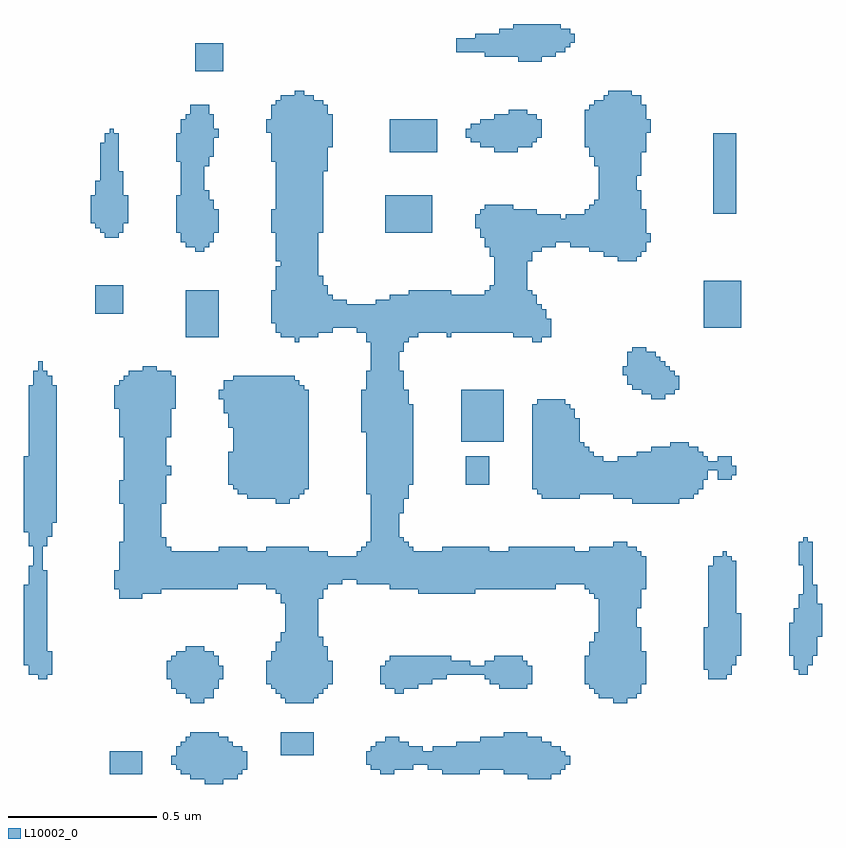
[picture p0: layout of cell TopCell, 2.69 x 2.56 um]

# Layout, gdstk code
import gdstk
lib = gdstk.Library(unit=1e-6, precision=1e-09)
def R(c, l, rs):  # rectangles x0, y0, x1, y1
    for r in rs: c.add(gdstk.rectangle(r[:2], r[2:], *l))
L10002_0 = (10002, 0)

topcell = lib.new_cell('TopCell')
R(topcell, L10002_0, [(1.36,0.768,1.407,0.943), (1.407,0.768,1.423,0.927), (1.312,0.784,1.36,0.943), (1.423,0.784,1.439,0.927), (1.439,0.784,1.455,0.911), (1.455,0.784,1.471,0.895), (2.448,0.784,2.495,0.927), (2.495,0.784,2.527,0.911), (1.04,0.8,1.151,0.879), (1.28,0.8,1.312,0.911), (1.471,0.8,1.487,0.895), (1.952,0.8,1.999,0.911), (2.16,0.8,2.287,0.895), (2.368,0.8,2.447,0.943), (2.447,0.8,2.448,0.927), (2.527,0.8,2.559,0.895), (1.264,0.816,1.28,0.895), (1.487,0.816,1.503,0.879), (1.92,0.816,1.952,0.895), (1.999,0.816,2.015,0.927), (2.015,0.816,2.047,0.911), (2.047,0.816,2.063,0.895), (2.112,0.816,2.16,0.879), (2.287,0.816,2.368,0.911), (2.559,0.816,2.575,0.879), (1.248,0.832,1.264,0.863), (1.904,0.832,1.92,0.879), (2.063,0.832,2.095,0.895), (2.095,0.832,2.112,0.879), (2.575,0.832,2.591,0.863), (1.616,0.864,1.727,0.943), (2.128,0.879,2.16,0.895), (1.936,0.895,1.952,0.911), (2.208,0.895,2.287,0.911), (1.296,0.911,1.312,0.927), (1.968,0.911,1.999,0.927), (2.288,0.911,2.368,0.927), (1.312,1.04,1.359,1.231), (1.632,1.04,1.711,1.567), (1.711,1.04,1.727,1.551), (2.736,1.04,2.783,1.583), (1.296,1.056,1.312,1.231), (1.359,1.056,1.391,1.215), (1.616,1.056,1.632,1.279), (1.727,1.056,1.743,1.551), (2.688,1.056,2.736,1.567), (2.783,1.056,2.815,1.567), (1.264,1.072,1.296,1.215), (1.6,1.072,1.616,1.247), (1.743,1.072,1.759,1.263), (2,1.072,2.031,1.199), (2.672,1.072,2.688,1.279), (2.815,1.072,2.831,1.295), (1.248,1.088,1.264,1.199), (1.391,1.088,1.407,1.199), (1.584,1.088,1.6,1.215), (1.759,1.088,1.775,1.231), (1.968,1.088,2,1.183), (2.031,1.088,2.079,1.199), (2.352,1.088,2.431,1.199), (2.431,1.088,2.447,1.183), (2.656,1.088,2.672,1.247), (1.568,1.104,1.584,1.183), (1.775,1.104,1.791,1.183), (1.952,1.104,1.968,1.167), (2.079,1.104,2.127,1.199), (2.32,1.104,2.352,1.183), (2.447,1.104,2.463,1.167), (2.64,1.104,2.656,1.199), (2.831,1.104,2.847,1.215), (0.8,1.12,0.815,2.191), (0.815,1.12,0.831,1.487), (1.232,1.12,1.248,1.183), (1.407,1.12,1.423,1.167), (2.127,1.12,2.175,1.199), (2.304,1.12,2.32,1.183), (3.056,1.12,3.119,1.503), (0.768,1.136,0.8,1.503), (0.831,1.136,0.847,1.215), (2.175,1.136,2.191,1.199), (2.191,1.136,2.255,1.183), (2.255,1.136,2.304,1.167), (3.119,1.136,3.135,1.535), (3.36,1.136,3.391,1.407), (3.04,1.152,3.056,1.295), (3.344,1.152,3.36,1.359), (0.752,1.168,0.768,1.439), (3.135,1.168,3.151,1.519), (3.391,1.168,3.407,1.583), (1.984,1.183,2,1.199), (2.336,1.183,2.352,1.199), (3.151,1.2,3.167,1.343), (3.328,1.2,3.344,1.311), (3.407,1.2,3.423,1.439), (3.423,1.264,3.439,1.375), (2.815,1.36,2.831,1.551), (1.616,1.376,1.632,1.567), (1.072,1.392,1.151,1.583), (1.743,1.392,1.759,1.551), (2.672,1.392,2.688,1.567), (3.376,1.407,3.391,1.599), (1.151,1.408,1.215,2.159), (1.6,1.408,1.616,1.567), (2.08,1.408,2.271,1.551), (2.656,1.408,2.672,1.567), (1.056,1.424,1.072,1.487), (1.215,1.424,1.231,1.599), (1.231,1.424,1.247,1.567), (1.247,1.424,1.471,1.551), (1.568,1.424,1.6,1.567), (1.759,1.424,1.775,1.551), (1.984,1.424,2.015,2.415), (2.015,1.424,2.031,1.599), (2.031,1.424,2.047,1.583), (2.047,1.424,2.063,1.567), (2.063,1.424,2.08,1.551), (2.271,1.424,2.319,1.567), (2.319,1.424,2.543,1.551), (2.64,1.424,2.656,1.551), (2.831,1.424,2.847,1.535), (1.471,1.44,1.503,1.567), (1.503,1.44,1.568,1.551), (1.775,1.44,1.823,1.535), (1.872,1.44,1.984,1.551), (2.543,1.44,2.607,1.567), (2.607,1.44,2.64,1.551), (1.823,1.456,1.872,1.535), (0.784,1.503,0.8,2.159), (3.072,1.503,3.119,1.535), (3.36,1.504,3.376,1.583), (3.104,1.535,3.119,1.551), (1.408,1.551,1.471,1.567), (1.888,1.551,1.984,1.567), (2.16,1.551,2.271,1.567), (2.384,1.551,2.543,1.567), (1.904,1.567,1.984,1.583), (0.768,1.568,0.784,2.111), (0.815,1.568,0.831,2.159), (1.088,1.583,1.151,2.143), (1.92,1.583,1.984,2.383), (0.831,1.6,0.847,2.143), (0.752,1.616,0.768,1.871), (0.847,1.648,0.863,2.111), (2.015,1.68,2.031,2.159), (1.072,1.712,1.088,1.791), (1.215,1.712,1.231,2.159), (1.6,1.712,1.647,2.143), (2.8,1.712,2.959,1.871), (1.504,1.728,1.6,2.143), (1.647,1.728,1.663,2.143), (1.663,1.728,1.679,2.127), (2.031,1.728,2.047,2.095), (2.496,1.728,2.575,2.063), (2.575,1.728,2.591,2.047), (2.591,1.728,2.607,2.031), (2.607,1.728,2.623,1.999), (2.736,1.728,2.8,1.855), (2.959,1.728,2.991,1.919), (2.991,1.728,3.007,1.903), (1.472,1.744,1.504,2.143), (1.679,1.744,1.695,2.111), (1.904,1.744,1.92,2.159), (2.48,1.744,2.496,2.063), (2.623,1.744,2.639,1.919), (2.639,1.744,2.655,1.903), (2.655,1.744,2.671,1.887), (2.671,1.744,2.703,1.871), (2.703,1.744,2.736,1.855), (3.007,1.744,3.023,1.903), (1.456,1.76,1.472,2.143), (1.695,1.76,1.711,2.095), (2.464,1.76,2.48,2.047), (3.023,1.76,3.039,1.887), (1.44,1.776,1.456,1.887), (2.047,1.776,2.063,2.047), (2.24,1.776,2.319,1.871), (3.039,1.792,3.055,1.871), (3.088,1.792,3.135,1.871), (1.231,1.808,1.247,1.839), (3.135,1.808,3.151,1.839), (3.055,1.824,3.088,1.855), (2.752,1.855,2.8,1.871), (2.816,1.871,2.959,1.887), (2.864,1.887,2.959,1.903), (2.928,1.903,2.959,1.919), (2.224,1.92,2.367,2.095), (1.072,1.936,1.088,2.127), (1.231,1.936,1.247,2.159), (1.888,1.952,1.904,2.095), (1.44,1.968,1.456,2.127), (1.424,2.016,1.44,2.127), (1.056,2.032,1.072,2.111), (1.247,2.032,1.263,2.143), (1.408,2.064,1.424,2.095), (2.864,2.064,2.879,2.223), (2.879,2.064,2.895,2.207), (2.895,2.064,2.911,2.191), (2.832,2.08,2.847,2.239), (2.847,2.08,2.864,2.223), (2.911,2.08,2.927,2.175), (2.927,2.08,2.943,2.159), (2.8,2.096,2.832,2.239), (2.943,2.096,2.959,2.143), (2.784,2.112,2.8,2.223), (1.104,2.143,1.151,2.159), (2.768,2.144,2.784,2.175), (1.152,2.159,1.199,2.175), (2.015,2.224,2.031,2.415), (1.664,2.256,1.679,3.103), (1.904,2.256,1.92,2.383), (2.031,2.256,2.047,2.415), (2.464,2.256,2.479,2.415), (2.479,2.256,2.495,2.383), (1.296,2.272,1.407,2.431), (1.616,2.272,1.664,3.087), (1.679,2.272,1.695,3.103), (1.695,2.272,1.727,3.087), (1.727,2.272,1.743,3.071), (2.047,2.272,2.079,2.415), (2.176,2.272,2.191,2.431), (2.4,2.272,2.447,2.703), (2.447,2.272,2.463,2.431), (2.463,2.272,2.464,2.415), (2.495,2.272,2.511,2.367), (2.511,2.272,2.527,2.335), (1.6,2.288,1.616,2.511), (1.743,2.288,1.759,2.479), (1.759,2.288,1.775,2.447), (1.775,2.288,1.791,2.415), (1.872,2.288,1.904,2.383), (2.079,2.288,2.176,2.431), (2.191,2.288,2.4,2.415), (1.791,2.304,1.839,2.399), (1.839,2.304,1.872,2.383), (3.04,2.304,3.167,2.463), (1.584,2.32,1.6,2.431), (0.992,2.352,1.087,2.447), (1.936,2.383,1.984,2.399), (2.048,2.415,2.079,2.431), (2.304,2.415,2.4,2.431), (2.32,2.431,2.4,2.447), (2.336,2.447,2.399,2.719), (2.399,2.447,2.4,2.703), (1.6,2.528,1.616,3.071), (2.447,2.528,2.463,2.703), (2.752,2.528,2.799,3.103), (2.799,2.528,2.815,3.087), (2.32,2.544,2.336,2.719), (2.704,2.544,2.752,3.087), (2.815,2.544,2.831,2.767), (1.328,2.56,1.359,3.055), (2.463,2.56,2.479,2.703), (2.479,2.56,2.495,2.687), (2.656,2.56,2.704,2.719), (2.831,2.56,2.847,2.703), (1.296,2.576,1.328,3.023), (1.359,2.576,1.375,2.767), (2.304,2.576,2.32,2.719), (2.495,2.576,2.543,2.687), (2.592,2.576,2.656,2.687), (1.28,2.592,1.296,3.007), (1.375,2.592,1.391,2.735), (2.543,2.592,2.559,2.687), (2.559,2.592,2.592,2.671), (2.847,2.592,2.863,2.623), (1.024,2.608,1.071,2.959), (2.288,2.608,2.304,2.703), (1.008,2.624,1.024,2.927), (1.071,2.624,1.087,2.831), (1.264,2.624,1.28,2.751), (1.391,2.624,1.407,2.703), (1.584,2.624,1.6,2.703), (1.743,2.624,1.759,3.071), (1.968,2.624,2.127,2.751), (0.992,2.64,1.008,2.799), (2.272,2.64,2.288,2.687), (0.976,2.656,0.992,2.751), (1.087,2.656,1.103,2.751), (2.576,2.671,2.592,2.687), (2.64,2.687,2.656,2.703), (3.072,2.688,3.151,2.959), (2.672,2.719,2.704,2.735), (2.688,2.735,2.704,3.071), (2.815,2.816,2.831,3.087), (1.759,2.832,1.775,3.055), (1.359,2.848,1.375,3.055), (2.672,2.848,2.688,3.071), (1.264,2.864,1.28,2.959), (1.584,2.864,1.6,3.055), (1.375,2.88,1.391,3.023), (2.656,2.88,2.672,3.055), (1.984,2.896,2.143,3.007), (2.336,2.896,2.415,3.023), (2.831,2.896,2.847,3.055), (1.775,2.912,1.791,3.023), (2.288,2.912,2.336,3.007), (2.415,2.912,2.447,3.039), (2.447,2.912,2.463,3.023), (2.64,2.912,2.656,3.039), (2.256,2.928,2.288,2.991), (2.463,2.928,2.479,3.023), (1.391,2.944,1.407,2.975), (2.24,2.944,2.256,2.975), (2.479,2.944,2.495,3.007), (1.04,2.959,1.055,2.975), (1.568,2.96,1.584,3.007), (2.847,2.96,2.863,3.007), (1.312,3.023,1.328,3.055), (2.384,3.023,2.415,3.039), (2.72,3.087,2.752,3.103), (1.328,3.168,1.423,3.263), (2.416,3.2,2.495,3.327), (2.304,3.216,2.416,3.295), (2.495,3.216,2.543,3.327), (2.208,3.232,2.304,3.279), (2.543,3.232,2.559,3.327), (2.559,3.232,2.575,3.311), (2.575,3.248,2.591,3.311), (2.591,3.264,2.607,3.295), (2.272,3.279,2.304,3.295), (2.352,3.295,2.416,3.311), (2.4,3.311,2.416,3.327)])

lib.write_gds('TopCell.gds')
